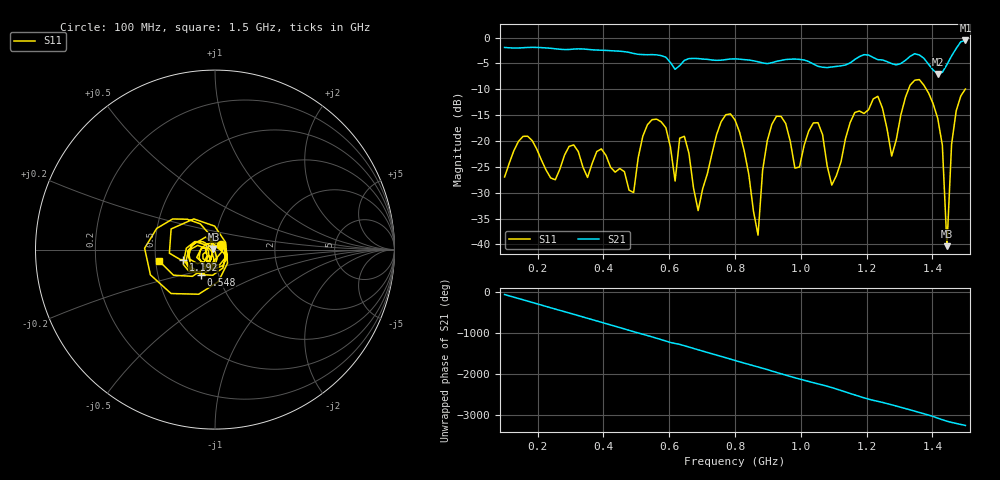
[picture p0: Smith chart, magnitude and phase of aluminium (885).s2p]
! NanoVNA-App
! Date: 2025-09-25 15:02:10
! Start: 100MHz Stop: 1,5GHz Points: 101
! S-Parameter data: F S11 S21 S12 S22
# Hz S RI R 50
!  Frequency  S11_Real  S11_Imag  S21_Real  S21_Imag  S12_Real  S12_Imag  S22_Real  S22_Imag
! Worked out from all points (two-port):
!   101 points, 100 MHz to 1.5 GHz, reference 50 ohm
!   highest |S21| = -0.57 dB at 1.5 GHz (marker M1); lowest = -7.1 dB at 1.416 GHz (marker M2)
!   |S21| within 3 dB of the highest: start of sweep to 578.9 MHz; 1.458 GHz to end of sweep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
!   lowest |S11| = -40.3 dB at 1.444 GHz (marker M3), VSWR 1.02, Z = 49.1 + j0.414 ohm
!   |S11| at or under -10 dB: start of sweep to 1.327 GHz; 1.381 GHz to 1.5 GHz (118.3 MHz wide, 8.22 % of centre)
!   S12 and S22 are empty: the file has one direction only
!   S11 on the Smith chart (normalised r, x): 100 MHz: 1.07, +0.06; 548 MHz: 0.82, -0.23; 1.192 GHz: 0.70, -0.08; 1.5 GHz: 0.52, -0.07
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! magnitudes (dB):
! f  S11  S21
! 100 MHz  -27.0  -1.9
! 338 MHz  -25.1  -2.2
! 492 MHz  -30.0  -3.1
! 548 MHz  -15.9  -3.3
! 576 MHz  -16.3  -3.5
! 618 MHz  -27.7  -6.1
! 646 MHz  -19.1  -4.4
! 688 MHz  -33.5  -4.1
! 800 MHz  -15.9  -4.1
! 870 MHz  -38.2  -4.7
! 912 MHz  -16.8  -4.9
! 982 MHz  -25.2  -4.2
! 1.038 GHz  -16.5  -5.1
! 1.094 GHz  -28.5  -5.7
! 1.192 GHz  -14.7  -3.3
! 1.234 GHz  -11.4  -4.3
! 1.276 GHz  -22.9  -5.0
! 1.346 GHz  -8.3  -3.1
! 1.416 GHz  -15.6  -7.1
! 1.444 GHz  -40.3  -5.2
! 1.458 GHz  -20.7  -3.6
! 1.5 GHz  -10.0  -0.6
